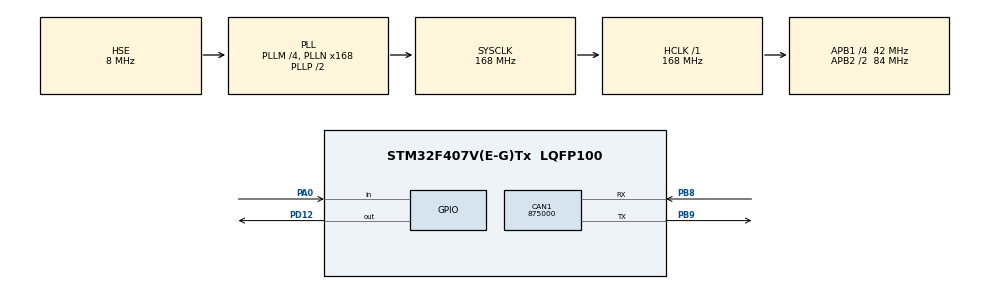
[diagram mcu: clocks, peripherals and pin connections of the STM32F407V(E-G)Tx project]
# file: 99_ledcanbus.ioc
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CAN1.CalculateBaudRate=875000
CAN1.CalculateTimeBit=1142
CAN1.CalculateTimeQuantum=380.95238095238096
Mcu.Family=STM32F4
Mcu.Name=STM32F407V(E-G)Tx
Mcu.Package=LQFP100
NVIC.PriorityGroup=NVIC_PRIORITYGROUP_4
PA0-WKUP.Signal=GPIO_Input
PB8.Mode=CAN_Activate
PB8.Signal=CAN1_RX
PB9.Mode=CAN_Activate
PB9.Signal=CAN1_TX
PD12.Signal=GPIO_Output
PH0-OSC_IN.Mode=HSE-External-Oscillator
PH0-OSC_IN.Signal=RCC_OSC_IN
PH1-OSC_OUT.Mode=HSE-External-Oscillator
PH1-OSC_OUT.Signal=RCC_OSC_OUT
ProjectManager.HeapSize=0x200
ProjectManager.StackSize=0x400
ProjectManager.TargetToolchain=STM32CubeIDE
RCC.48MHZClocksFreq_Value=84000000
RCC.AHBFreq_Value=168000000
RCC.APB1CLKDivider=RCC_HCLK_DIV4
RCC.APB1Freq_Value=42000000
RCC.APB1TimFreq_Value=84000000
RCC.APB2CLKDivider=RCC_HCLK_DIV2
RCC.APB2Freq_Value=84000000
RCC.APB2TimFreq_Value=168000000
RCC.CortexFreq_Value=168000000
RCC.HCLKFreq_Value=168000000
RCC.HSE_VALUE=8000000
RCC.HSI_VALUE=16000000
RCC.LSE_VALUE=32768
RCC.PLLM=4
RCC.PLLN=168
RCC.PLLSourceVirtual=RCC_PLLSOURCE_HSE
RCC.SYSCLKFreq_VALUE=168000000
RCC.SYSCLKSource=RCC_SYSCLKSOURCE_PLLCLK
RCC.VCOOutputFreq_Value=336000000
board=custom

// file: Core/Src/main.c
/* USER CODE BEGIN Header */
/**
  ******************************************************************************
  * @file           : main.c
  * @brief          : Main program body
  ******************************************************************************
  * @attention
  *
  * Copyright (c) 2023 STMicroelectronics.
  * All rights reserved.
  *
  * This software is licensed under terms that can be found in the LICENSE file
  * in the root directory of this software component.
  * If no LICENSE file comes with this software, it is provided AS-IS.
  *
  ******************************************************************************
  */
/* USER CODE END Header */
#include "main.h"

CAN_HandleTypeDef hcan1;

void SystemClock_Config(void);
static void MX_GPIO_Init(void);
static void MX_CAN1_Init(void);

int main(void)
{

  /* MCU Configuration--------------------------------------------------------*/

  /* Reset of all peripherals, Initializes the Flash interface and the Systick. */
  HAL_Init();

  /* Configure the system clock */
  SystemClock_Config();

  /* Initialize all configured peripherals */
  MX_GPIO_Init();
  MX_CAN1_Init();
  /* USER CODE BEGIN 2 */
  CAN_TxHeaderTypeDef txHeader;
  uint8_t txData[1];
  uint32_t pTxMailbox;

  txHeader.StdId = 0x123; // Örnek CAN ID
  txHeader.ExtId = 0;
  txHeader.RTR = CAN_RTR_DATA;
  txHeader.IDE = CAN_ID_STD;
  txHeader.DLC = 1;
  txHeader.TransmitGlobalTime = DISABLE;

  /* USER CODE END 2 */

  /* Infinite loop */
  while (1)
  {

    /* USER CODE BEGIN 3 */
	  /*
	  if (HAL_CAN_GetRxMessage(&hcan1, CAN_RX_FIFO0, &rxHeader, rxData) == HAL_OK) {
	      if (rxHeader.StdId == 0x123 && rxData[0] == 0x01) { // Örnek CAN ID ve komut
	        HAL_GPIO_WritePin(GPIOD, GPIO_PIN_12, GPIO_PIN_SET); // 12. LED'i yak
	      } else {
	        HAL_GPIO_WritePin(GPIOD, GPIO_PIN_12, GPIO_PIN_RESET); // 12. LED'i söndür
	      }
	    }
*/

	    if (HAL_GPIO_ReadPin(GPIOA, GPIO_PIN_0) == GPIO_PIN_SET) { // Kullanıcı butonuna basıldıysa
	      txData[0] = 0x01; // LED yakma komutu

	      HAL_CAN_AddTxMessage(&hcan1, &txHeader, txData, &pTxMailbox);
	      HAL_GPIO_WritePin(GPIOD, GPIO_PIN_12, GPIO_PIN_SET); // 12. LED'i yak
	    } else {
	      txData[0] = 0x00; // LED söndürme komutu

	      HAL_CAN_AddTxMessage(&hcan1, &txHeader, txData, &pTxMailbox);
	      HAL_GPIO_WritePin(GPIOD, GPIO_PIN_12, GPIO_PIN_RESET); // 12. LED'i söndür
	    }

	  }
  /* USER CODE END 3 */
}

void SystemClock_Config(void)
{
  RCC_OscInitTypeDef RCC_OscInitStruct = {0};
  RCC_ClkInitTypeDef RCC_ClkInitStruct = {0};

  /** Configure the main internal regulator output voltage
  */
  __HAL_RCC_PWR_CLK_ENABLE();
  __HAL_PWR_VOLTAGESCALING_CONFIG(PWR_REGULATOR_VOLTAGE_SCALE1);

  /** Initializes the RCC Oscillators according to the specified parameters
  * in the RCC_OscInitTypeDef structure.
  */
  RCC_OscInitStruct.OscillatorType = RCC_OSCILLATORTYPE_HSE;
  RCC_OscInitStruct.HSEState = RCC_HSE_ON;
  RCC_OscInitStruct.PLL.PLLState = RCC_PLL_ON;
  RCC_OscInitStruct.PLL.PLLSource = RCC_PLLSOURCE_HSE;
  RCC_OscInitStruct.PLL.PLLM = 4;
  RCC_OscInitStruct.PLL.PLLN = 168;
  RCC_OscInitStruct.PLL.PLLP = RCC_PLLP_DIV2;
  RCC_OscInitStruct.PLL.PLLQ = 4;
  if (HAL_RCC_OscConfig(&RCC_OscInitStruct) != HAL_OK)
  {
    Error_Handler();
  }

  /** Initializes the CPU, AHB and APB buses clocks
  */
  RCC_ClkInitStruct.ClockType = RCC_CLOCKTYPE_HCLK|RCC_CLOCKTYPE_SYSCLK
                              |RCC_CLOCKTYPE_PCLK1|RCC_CLOCKTYPE_PCLK2;
  RCC_ClkInitStruct.SYSCLKSource = RCC_SYSCLKSOURCE_PLLCLK;
  RCC_ClkInitStruct.AHBCLKDivider = RCC_SYSCLK_DIV1;
  RCC_ClkInitStruct.APB1CLKDivider = RCC_HCLK_DIV4;
  RCC_ClkInitStruct.APB2CLKDivider = RCC_HCLK_DIV2;

  if (HAL_RCC_ClockConfig(&RCC_ClkInitStruct, FLASH_LATENCY_5) != HAL_OK)
  {
    Error_Handler();
  }
}

static void MX_CAN1_Init(void)
{

  hcan1.Instance = CAN1;
  hcan1.Init.Prescaler = 16;
  hcan1.Init.Mode = CAN_MODE_NORMAL;
  hcan1.Init.SyncJumpWidth = CAN_SJW_1TQ;
  hcan1.Init.TimeSeg1 = CAN_BS1_1TQ;
  hcan1.Init.TimeSeg2 = CAN_BS2_1TQ;
  hcan1.Init.TimeTriggeredMode = DISABLE;
  hcan1.Init.AutoBusOff = DISABLE;
  hcan1.Init.AutoWakeUp = DISABLE;
  hcan1.Init.AutoRetransmission = DISABLE;
  hcan1.Init.ReceiveFifoLocked = DISABLE;
  hcan1.Init.TransmitFifoPriority = DISABLE;
  if (HAL_CAN_Init(&hcan1) != HAL_OK)
  {
    Error_Handler();
  }

}

static void MX_GPIO_Init(void)
{
  GPIO_InitTypeDef GPIO_InitStruct = {0};

  /* GPIO Ports Clock Enable */
  __HAL_RCC_GPIOH_CLK_ENABLE();
  __HAL_RCC_GPIOA_CLK_ENABLE();
  __HAL_RCC_GPIOD_CLK_ENABLE();
  __HAL_RCC_GPIOB_CLK_ENABLE();

  /*Configure GPIO pin Output Level */
  HAL_GPIO_WritePin(GPIOD, GPIO_PIN_12, GPIO_PIN_RESET);

  /*Configure GPIO pin : PA0 */
  GPIO_InitStruct.Pin = GPIO_PIN_0;
  GPIO_InitStruct.Mode = GPIO_MODE_INPUT;
  GPIO_InitStruct.Pull = GPIO_NOPULL;
  HAL_GPIO_Init(GPIOA, &GPIO_InitStruct);

  /*Configure GPIO pin : PD12 */
  GPIO_InitStruct.Pin = GPIO_PIN_12;
  GPIO_InitStruct.Mode = GPIO_MODE_OUTPUT_PP;
  GPIO_InitStruct.Pull = GPIO_NOPULL;
  GPIO_InitStruct.Speed = GPIO_SPEED_FREQ_LOW;
  HAL_GPIO_Init(GPIOD, &GPIO_InitStruct);

}

void Error_Handler(void)
{
  __disable_irq();
  while (1)
  {
  }
}
